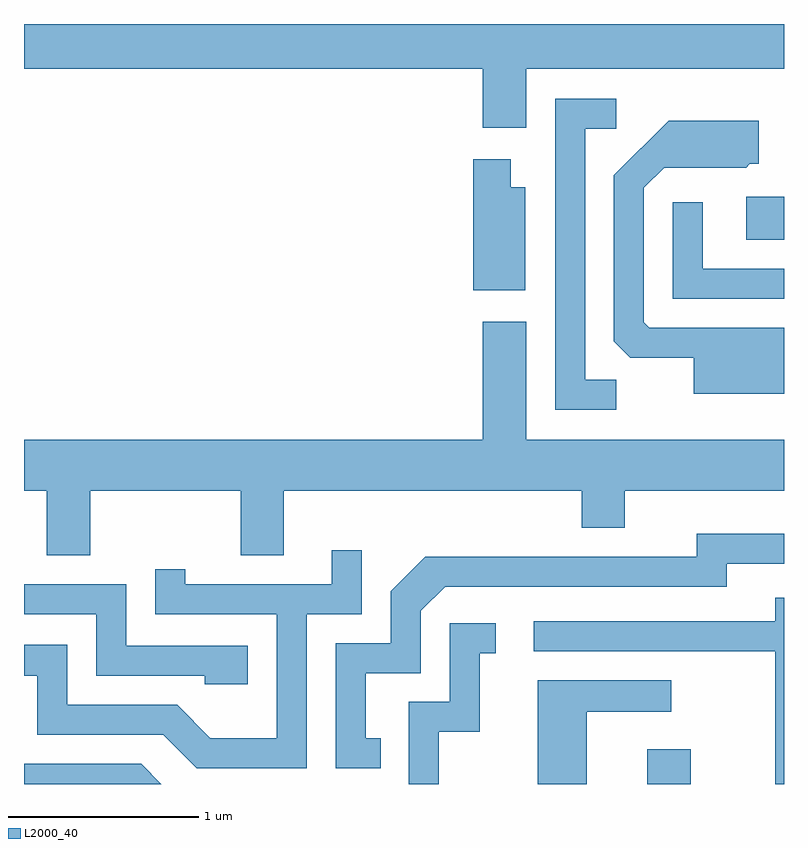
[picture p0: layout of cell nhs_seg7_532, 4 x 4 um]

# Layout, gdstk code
import gdstk
lib = gdstk.Library(unit=1e-6, precision=1e-09)
def R(c, l, rs):  # rectangles x0, y0, x1, y1
    for r in rs: c.add(gdstk.rectangle(r[:2], r[2:], *l))
def P(c, l, *ps):  # polygons
    for p in ps: c.add(gdstk.Polygon(p, *l))
L2000_40 = (2000, 40)

nhs_seg7_532 = lib.new_cell('nhs_seg7_532')
R(nhs_seg7_532, L2000_40, [(202.891,1788.252,203.119,1788.434), (203.411,1791.116,203.611,1791.344)])
P(nhs_seg7_532, L2000_40, [(202.254,1792.016),(203.611,1792.016),(203.611,1792.252),(199.611,1792.252),(199.611,1792.016),(202.026,1792.016),(202.026,1791.706),(202.254,1791.706)],
  [(202.728,1790.379),(202.564,1790.379),(202.564,1791.701),(202.728,1791.701),(202.728,1791.859),(202.406,1791.859),(202.406,1790.221),(202.728,1790.221)],
  [(203.611,1790.654),(202.902,1790.654),(202.874,1790.682),(202.874,1791.389),(202.982,1791.496),(203.412,1791.496),(203.432,1791.516),(203.479,1791.516),(203.479,1791.744),(203.004,1791.744),(202.716,1791.457),(202.716,1790.582),(202.802,1790.496),(203.136,1790.496),(203.136,1790.306),(203.611,1790.306)],
  [(202.249,1791.394),(202.174,1791.394),(202.174,1791.539),(201.976,1791.539),(201.976,1790.851),(202.249,1790.851)],
  [(203.611,1790.964),(203.184,1790.964),(203.184,1791.313),(203.026,1791.313),(203.026,1790.806),(203.611,1790.806)],
  [(199.959,1789.796),(200.751,1789.796),(200.751,1789.456),(200.979,1789.456),(200.979,1789.796),(202.546,1789.796),(202.546,1789.601),(202.774,1789.601),(202.774,1789.796),(203.611,1789.796),(203.611,1790.064),(202.254,1790.064),(202.254,1790.684),(202.026,1790.684),(202.026,1790.064),(199.611,1790.064),(199.611,1789.796),(199.731,1789.796),(199.731,1789.456),(199.959,1789.456)],
  [(201.488,1788.494),(201.409,1788.494),(201.409,1788.836),(201.699,1788.836),(201.699,1789.164),(201.827,1789.291),(203.309,1789.291),(203.309,1789.411),(203.611,1789.411),(203.611,1789.569),(203.151,1789.569),(203.151,1789.449),(201.724,1789.449),(201.541,1789.267),(201.541,1788.994),(201.251,1788.994),(201.251,1788.336),(201.488,1788.336)],
  [(201.099,1789.146),(201.389,1789.146),(201.389,1789.483),(201.231,1789.483),(201.231,1789.304),(200.459,1789.304),(200.459,1789.383),(200.301,1789.383),(200.301,1789.146),(200.941,1789.146),(200.941,1788.494),(200.592,1788.494),(200.417,1788.669),(199.839,1788.669),(199.839,1788.984),(199.611,1788.984),(199.611,1788.821),(199.681,1788.821),(199.681,1788.511),(200.344,1788.511),(200.519,1788.336),(201.099,1788.336)],
  [(200.789,1788.979),(200.149,1788.979),(200.149,1789.304),(199.611,1789.304),(199.611,1789.146),(199.991,1789.146),(199.991,1788.821),(200.561,1788.821),(200.561,1788.776),(200.789,1788.776)],
  [(203.611,1789.233),(203.566,1789.233),(203.566,1789.109),(202.293,1789.109),(202.293,1788.951),(203.566,1788.951),(203.566,1788.252),(203.611,1788.252)],
  [(201.794,1788.526),(202.009,1788.526),(202.009,1788.941),(202.093,1788.941),(202.093,1789.099),(201.851,1789.099),(201.851,1788.684),(201.636,1788.684),(201.636,1788.252),(201.794,1788.252)],
  [(202.574,1788.631),(203.018,1788.631),(203.018,1788.799),(202.316,1788.799),(202.316,1788.252),(202.574,1788.252)],
  [(200.227,1788.359),(199.611,1788.359),(199.611,1788.252),(200.334,1788.252)])

lib.write_gds('nhs_seg7_532.gds')
